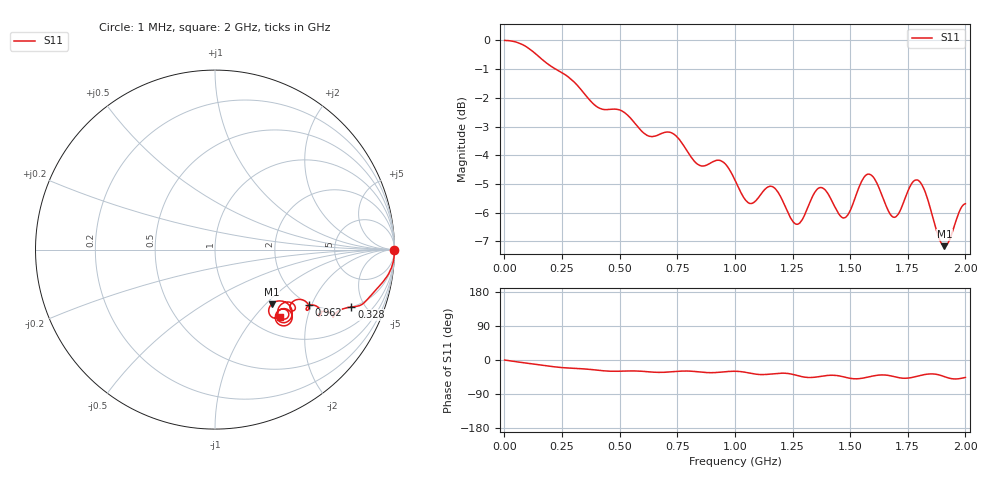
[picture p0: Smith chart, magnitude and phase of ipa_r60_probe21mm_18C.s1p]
! Created with skrf 1.12.0 (http://scikit-rf.org).
# Hz S RI R 50.0
!freq ReS11 ImS11
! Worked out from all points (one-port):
!   2000 points, 1 MHz to 2 GHz, reference 50 ohm
!   lowest |S11| = -7.2 dB at 1.909 GHz (marker M1), VSWR 2.56, Z = 72 - j54.2 ohm
!   |S11| at or under -10 dB: nowhere
!   S11 on the Smith chart (normalised r, x): 1 MHz: open; 328 MHz: 2.00, -4.01; 962 MHz: 1.94, -1.91; 2 GHz: 1.33, -1.36
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1000000  0.9999 -0.00162
8.8e7  0.9704 -0.1296
2.51e8  0.8245 -0.3015
3.28e8  0.7604 -0.3198
4.19e8  0.6721 -0.3551
5.01e8  0.6577 -0.3737
6.4e8  0.5777 -0.3587
7.51e8  0.5875 -0.3382
8.61e8  0.51 -0.3237
9.62e8  0.5215 -0.3105
1.001e9  0.4953 -0.2829
1.074e9  0.4224 -0.3033
1.132e9  0.4327 -0.3413
1.189e9  0.4439 -0.3118
1.251e9  0.3818 -0.2971
1.341e9  0.3757 -0.386
1.393e9  0.4112 -0.3624
1.443e9  0.3804 -0.3313
1.501e9  0.3359 -0.3783
1.553e9  0.382 -0.4248
1.605e9  0.4304 -0.3807
1.669e9  0.3787 -0.329
1.751e9  0.3676 -0.4046
1.823e9  0.4292 -0.3404
1.869e9  0.3779 -0.2877
1.909e9  0.3154 -0.3038
1.946e9  0.3017 -0.3561
2e9  0.3612 -0.3732
